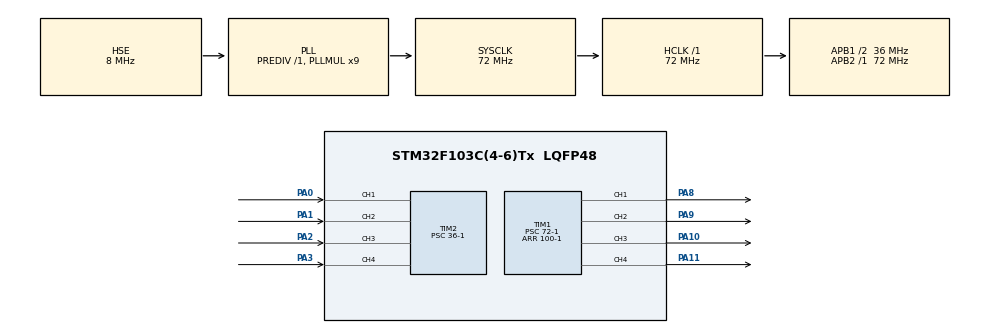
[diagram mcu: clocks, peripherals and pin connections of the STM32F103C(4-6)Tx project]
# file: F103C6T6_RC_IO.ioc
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Mcu.Family=STM32F1
Mcu.Name=STM32F103C(4-6)Tx
Mcu.Package=LQFP48
NVIC.PriorityGroup=NVIC_PRIORITYGROUP_4
NVIC.TIM2_IRQn=true\:0\:0\:false\:false\:true\:true\:true\:true
PA0-WKUP.Signal=S_TIM2_CH1_ETR
PA1.Signal=S_TIM2_CH2
PA10.Signal=S_TIM1_CH3
PA11.Signal=S_TIM1_CH4
PA13.Mode=Serial_Wire
PA13.Signal=SYS_JTMS-SWDIO
PA14.Mode=Serial_Wire
PA14.Signal=SYS_JTCK-SWCLK
PA2.Signal=S_TIM2_CH3
PA3.Signal=S_TIM2_CH4
PA8.Signal=S_TIM1_CH1
PA9.Signal=S_TIM1_CH2
PD0-OSC_IN.Mode=HSE-External-Oscillator
PD0-OSC_IN.Signal=RCC_OSC_IN
PD1-OSC_OUT.Mode=HSE-External-Oscillator
PD1-OSC_OUT.Signal=RCC_OSC_OUT
ProjectManager.HeapSize=0x200
ProjectManager.StackSize=0x400
ProjectManager.TargetToolchain=STM32CubeIDE
RCC.AHBFreq_Value=72000000
RCC.APB1CLKDivider=RCC_HCLK_DIV2
RCC.APB1Freq_Value=36000000
RCC.APB1TimFreq_Value=72000000
RCC.APB2Freq_Value=72000000
RCC.APB2TimFreq_Value=72000000
RCC.HCLKFreq_Value=72000000
RCC.PLLMUL=RCC_PLL_MUL9
RCC.PLLSourceVirtual=RCC_PLLSOURCE_HSE
RCC.SYSCLKFreq_VALUE=72000000
RCC.SYSCLKSource=RCC_SYSCLKSOURCE_PLLCLK
RCC.USBFreq_Value=72000000
SH.S_TIM1_CH1.0=TIM1_CH1,PWM Generation1 CH1
SH.S_TIM1_CH2.0=TIM1_CH2,PWM Generation2 CH2
SH.S_TIM1_CH3.0=TIM1_CH3,PWM Generation3 CH3
SH.S_TIM1_CH4.0=TIM1_CH4,PWM Generation4 CH4
SH.S_TIM2_CH1_ETR.0=TIM2_CH1,Input_Capture1_from_TI1
SH.S_TIM2_CH2.0=TIM2_CH2,Input_Capture2_from_TI2
SH.S_TIM2_CH3.0=TIM2_CH3,Input_Capture3_from_TI3
SH.S_TIM2_CH4.0=TIM2_CH4,Input_Capture4_from_TI4
TIM1.Channel-PWM\ Generation1\ CH1=TIM_CHANNEL_1
TIM1.Channel-PWM\ Generation2\ CH2=TIM_CHANNEL_2
TIM1.Channel-PWM\ Generation3\ CH3=TIM_CHANNEL_3
TIM1.Channel-PWM\ Generation4\ CH4=TIM_CHANNEL_4
TIM1.Period=100-1
TIM1.Prescaler=72-1
TIM2.Channel-Input_Capture1_from_TI1=TIM_CHANNEL_1
TIM2.Channel-Input_Capture2_from_TI2=TIM_CHANNEL_2
TIM2.Channel-Input_Capture3_from_TI3=TIM_CHANNEL_3
TIM2.Channel-Input_Capture4_from_TI4=TIM_CHANNEL_4
TIM2.Prescaler=36-1
VP_TIM1_VS_ClockSourceINT.Mode=Internal
VP_TIM2_VS_ClockSourceINT.Mode=Internal
board=custom

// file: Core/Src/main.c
/* USER CODE BEGIN Header */
/**
  ******************************************************************************
  * @file           : main.c
  * @brief          : Main program body
  ******************************************************************************
  * @attention
  *
  * Copyright (c) 2023 STMicroelectronics.
  * All rights reserved.
  *
  * This software is licensed under terms that can be found in the LICENSE file
  * in the root directory of this software component.
  * If no LICENSE file comes with this software, it is provided AS-IS.
  *
  ******************************************************************************
  */
/* USER CODE END Header */
#include "main.h"

TIM_HandleTypeDef htim1;
TIM_HandleTypeDef htim2;

void SystemClock_Config(void);
static void MX_GPIO_Init(void);
static void MX_TIM1_Init(void);
static void MX_TIM2_Init(void);

/* USER CODE BEGIN 0 */

// Reference code from https://controllerstech.com/input-capture-in-stm32/
//
// We have to make some modifications for the STM32F1 which is NOT capable of "Both Edges" input capture
// used in the article. So after capturing the RISING edge, we have to switch polarity to capture the
// FALLING edge; and once it is done, we switch back to RISING.

// According to the datasheet, Timer 2 is connected to ABP1. Its clock speed can be checked in the
// "Clock Configuration" tab.
#define TIMCLOCK   72000000    // Frequency of Timer 2 (timer performing the measurement)
#define PRESCALAR  36          // Prescalar of Timer 2

// Struct to store information about a pulse width measurement channel
struct ChannelInfo {
	uint32_t IC_Val1;
	uint32_t IC_Val2;          // Note that IC_Val2 and Difference can be made into local variables in the ISR
	uint32_t Difference;       // but they are kept here for the purpose of debugging in Live Expression.
	int Is_First_Captured;

	/* Measure Width */
	uint32_t usWidth;
};

const float refClock = TIMCLOCK/(PRESCALAR);
const float mFactor = 1000000/refClock;      // Factor to convert from timer count into microseconds

// Measurement channels
struct ChannelInfo channels[4];

// Timer 2 ISR
void HAL_TIM_IC_CaptureCallback(TIM_HandleTypeDef *htim)
{
	int channelIndex = -1;
	uint32_t channel = 0;

	switch(htim->Channel) {
	case HAL_TIM_ACTIVE_CHANNEL_1:
		channelIndex = 0;
		channel = TIM_CHANNEL_1;
		break;

	case HAL_TIM_ACTIVE_CHANNEL_2:
		channelIndex = 1;
		channel = TIM_CHANNEL_2;
		break;

	case HAL_TIM_ACTIVE_CHANNEL_3:
		channelIndex = 2;
		channel = TIM_CHANNEL_3;
		break;

	case HAL_TIM_ACTIVE_CHANNEL_4:
		channelIndex = 3;
		channel = TIM_CHANNEL_4;
		break;

	default:
		return; // Exit for invalid channel
	}

	if (channels[channelIndex].Is_First_Captured == 0) // if the first value is not captured
	{
		channels[channelIndex].IC_Val1 = HAL_TIM_ReadCapturedValue(htim, channel); // read the first value
		channels[channelIndex].Is_First_Captured = 1;  // set the first captured as true

		// SPECIAL CODE FOR STM32F1: Switch polarity to FALLING!
		__HAL_TIM_SET_CAPTUREPOLARITY(htim, channel, TIM_INPUTCHANNELPOLARITY_FALLING);
	}
	else // if the first is already captured
	{
		channels[channelIndex].IC_Val2 = HAL_TIM_ReadCapturedValue(htim, channel);  // read second value

		if (channels[channelIndex].IC_Val2 > channels[channelIndex].IC_Val1)
		{
			channels[channelIndex].Difference = channels[channelIndex].IC_Val2 - channels[channelIndex].IC_Val1;
		}
		else if (channels[channelIndex].IC_Val1 > channels[channelIndex].IC_Val2)
		{
			// It should be 0xffff (our ARR value) here instead of 0xffffffff.
			channels[channelIndex].Difference = (0xffff - channels[channelIndex].IC_Val1) + channels[channelIndex].IC_Val2;
		}

		channels[channelIndex].usWidth = channels[channelIndex].Difference * mFactor;

		// Do NOT reset the timer counter here because it could be in used by the other channels!
		// Think about situation where channel 1 gets HIGH, then channel 2 goes HIGH then LOW before channel 1 gets LOW.
		// If we reset at the time channel 2 goes LOW then captured value when channel 1 goes LOW is incorrect.
		// Just let the timer reset normally. Unfortunately, for long signals, we cannot make sure the measurement is
		// correct.
		/* __HAL_TIM_SET_COUNTER(htim, 0);  // reset the counter */
		channels[channelIndex].Is_First_Captured = 0; // set it back to false

		// SPECIAL CODE FOR STM32F1: Switch the polarity back to RISING edge, for the next pulse.
		__HAL_TIM_SET_CAPTUREPOLARITY(htim, channel, TIM_INPUTCHANNELPOLARITY_RISING);
	}
}
/* USER CODE END 0 */

int main(void)
{

  /* MCU Configuration--------------------------------------------------------*/

  /* Reset of all peripherals, Initializes the Flash interface and the Systick. */
  HAL_Init();

  /* Configure the system clock */
  SystemClock_Config();

  /* Initialize all configured peripherals */
  MX_GPIO_Init();
  MX_TIM1_Init();
  MX_TIM2_Init();
  /* USER CODE BEGIN 2 */

  // Start generating a PWM signal on channel 1-4 of timer 1 (pin PA8, PA9, PA10, PA11)
  // In our setup, the clock frequency of timer 1 is 72 MHz, the prescalar is 72 and ARR is 100
  // so the signal is essentially 72,000,000 / (72 x 100) = 10 kHz. This gives the period of
  // 100 us so the pulse width should be the same as the duty cycle.
  TIM1->CCR1 = 25; // 25% Duty Cycle for Channel 1
  TIM1->CCR2 = 50; // 50% Duty Cycle for Channel 2
  TIM1->CCR3 = 75; // 75% Duty Cycle for Channel 3
  TIM1->CCR4 = 90; // 90% Duty Cycle for Channel 4
  HAL_TIM_PWM_Start(&htim1, TIM_CHANNEL_1);
  HAL_TIM_PWM_Start(&htim1, TIM_CHANNEL_2);
  HAL_TIM_PWM_Start(&htim1, TIM_CHANNEL_3);
  HAL_TIM_PWM_Start(&htim1, TIM_CHANNEL_4);

  // Start measuring the pulse width using channel 1-4 of timer 2 (pin PA0, PA1, PA2, PA3)
  HAL_TIM_IC_Start_IT(&htim2, TIM_CHANNEL_1);
  HAL_TIM_IC_Start_IT(&htim2, TIM_CHANNEL_2);
  HAL_TIM_IC_Start_IT(&htim2, TIM_CHANNEL_3);
  HAL_TIM_IC_Start_IT(&htim2, TIM_CHANNEL_4);

  /* USER CODE END 2 */

  /* Infinite loop */
  while (1)
  {

    /* USER CODE BEGIN 3 */
	  HAL_Delay(1000);
  }
  /* USER CODE END 3 */
}

void SystemClock_Config(void)
{
  RCC_OscInitTypeDef RCC_OscInitStruct = {0};
  RCC_ClkInitTypeDef RCC_ClkInitStruct = {0};

  /** Initializes the RCC Oscillators according to the specified parameters
  * in the RCC_OscInitTypeDef structure.
  */
  RCC_OscInitStruct.OscillatorType = RCC_OSCILLATORTYPE_HSE;
  RCC_OscInitStruct.HSEState = RCC_HSE_ON;
  RCC_OscInitStruct.HSEPredivValue = RCC_HSE_PREDIV_DIV1;
  RCC_OscInitStruct.HSIState = RCC_HSI_ON;
  RCC_OscInitStruct.PLL.PLLState = RCC_PLL_ON;
  RCC_OscInitStruct.PLL.PLLSource = RCC_PLLSOURCE_HSE;
  RCC_OscInitStruct.PLL.PLLMUL = RCC_PLL_MUL9;
  if (HAL_RCC_OscConfig(&RCC_OscInitStruct) != HAL_OK)
  {
    Error_Handler();
  }

  /** Initializes the CPU, AHB and APB buses clocks
  */
  RCC_ClkInitStruct.ClockType = RCC_CLOCKTYPE_HCLK|RCC_CLOCKTYPE_SYSCLK
                              |RCC_CLOCKTYPE_PCLK1|RCC_CLOCKTYPE_PCLK2;
  RCC_ClkInitStruct.SYSCLKSource = RCC_SYSCLKSOURCE_PLLCLK;
  RCC_ClkInitStruct.AHBCLKDivider = RCC_SYSCLK_DIV1;
  RCC_ClkInitStruct.APB1CLKDivider = RCC_HCLK_DIV2;
  RCC_ClkInitStruct.APB2CLKDivider = RCC_HCLK_DIV1;

  if (HAL_RCC_ClockConfig(&RCC_ClkInitStruct, FLASH_LATENCY_2) != HAL_OK)
  {
    Error_Handler();
  }
}

static void MX_TIM1_Init(void)
{

  TIM_ClockConfigTypeDef sClockSourceConfig = {0};
  TIM_MasterConfigTypeDef sMasterConfig = {0};
  TIM_OC_InitTypeDef sConfigOC = {0};
  TIM_BreakDeadTimeConfigTypeDef sBreakDeadTimeConfig = {0};

  htim1.Instance = TIM1;
  htim1.Init.Prescaler = 72-1;
  htim1.Init.CounterMode = TIM_COUNTERMODE_UP;
  htim1.Init.Period = 100-1;
  htim1.Init.ClockDivision = TIM_CLOCKDIVISION_DIV1;
  htim1.Init.RepetitionCounter = 0;
  htim1.Init.AutoReloadPreload = TIM_AUTORELOAD_PRELOAD_DISABLE;
  if (HAL_TIM_Base_Init(&htim1) != HAL_OK)
  {
    Error_Handler();
  }
  sClockSourceConfig.ClockSource = TIM_CLOCKSOURCE_INTERNAL;
  if (HAL_TIM_ConfigClockSource(&htim1, &sClockSourceConfig) != HAL_OK)
  {
    Error_Handler();
  }
  if (HAL_TIM_PWM_Init(&htim1) != HAL_OK)
  {
    Error_Handler();
  }
  sMasterConfig.MasterOutputTrigger = TIM_TRGO_RESET;
  sMasterConfig.MasterSlaveMode = TIM_MASTERSLAVEMODE_DISABLE;
  if (HAL_TIMEx_MasterConfigSynchronization(&htim1, &sMasterConfig) != HAL_OK)
  {
    Error_Handler();
  }
  sConfigOC.OCMode = TIM_OCMODE_PWM1;
  sConfigOC.Pulse = 0;
  sConfigOC.OCPolarity = TIM_OCPOLARITY_HIGH;
  sConfigOC.OCNPolarity = TIM_OCNPOLARITY_HIGH;
  sConfigOC.OCFastMode = TIM_OCFAST_DISABLE;
  sConfigOC.OCIdleState = TIM_OCIDLESTATE_RESET;
  sConfigOC.OCNIdleState = TIM_OCNIDLESTATE_RESET;
  if (HAL_TIM_PWM_ConfigChannel(&htim1, &sConfigOC, TIM_CHANNEL_1) != HAL_OK)
  {
    Error_Handler();
  }
  if (HAL_TIM_PWM_ConfigChannel(&htim1, &sConfigOC, TIM_CHANNEL_2) != HAL_OK)
  {
    Error_Handler();
  }
  if (HAL_TIM_PWM_ConfigChannel(&htim1, &sConfigOC, TIM_CHANNEL_3) != HAL_OK)
  {
    Error_Handler();
  }
  if (HAL_TIM_PWM_ConfigChannel(&htim1, &sConfigOC, TIM_CHANNEL_4) != HAL_OK)
  {
    Error_Handler();
  }
  sBreakDeadTimeConfig.OffStateRunMode = TIM_OSSR_DISABLE;
  sBreakDeadTimeConfig.OffStateIDLEMode = TIM_OSSI_DISABLE;
  sBreakDeadTimeConfig.LockLevel = TIM_LOCKLEVEL_OFF;
  sBreakDeadTimeConfig.DeadTime = 0;
  sBreakDeadTimeConfig.BreakState = TIM_BREAK_DISABLE;
  sBreakDeadTimeConfig.BreakPolarity = TIM_BREAKPOLARITY_HIGH;
  sBreakDeadTimeConfig.AutomaticOutput = TIM_AUTOMATICOUTPUT_DISABLE;
  if (HAL_TIMEx_ConfigBreakDeadTime(&htim1, &sBreakDeadTimeConfig) != HAL_OK)
  {
    Error_Handler();
  }
  HAL_TIM_MspPostInit(&htim1);

}

static void MX_TIM2_Init(void)
{

  TIM_ClockConfigTypeDef sClockSourceConfig = {0};
  TIM_MasterConfigTypeDef sMasterConfig = {0};
  TIM_IC_InitTypeDef sConfigIC = {0};

  htim2.Instance = TIM2;
  htim2.Init.Prescaler = 36-1;
  htim2.Init.CounterMode = TIM_COUNTERMODE_UP;
  htim2.Init.Period = 65535;
  htim2.Init.ClockDivision = TIM_CLOCKDIVISION_DIV1;
  htim2.Init.AutoReloadPreload = TIM_AUTORELOAD_PRELOAD_DISABLE;
  if (HAL_TIM_Base_Init(&htim2) != HAL_OK)
  {
    Error_Handler();
  }
  sClockSourceConfig.ClockSource = TIM_CLOCKSOURCE_INTERNAL;
  if (HAL_TIM_ConfigClockSource(&htim2, &sClockSourceConfig) != HAL_OK)
  {
    Error_Handler();
  }
  if (HAL_TIM_IC_Init(&htim2) != HAL_OK)
  {
    Error_Handler();
  }
  sMasterConfig.MasterOutputTrigger = TIM_TRGO_RESET;
  sMasterConfig.MasterSlaveMode = TIM_MASTERSLAVEMODE_DISABLE;
  if (HAL_TIMEx_MasterConfigSynchronization(&htim2, &sMasterConfig) != HAL_OK)
  {
    Error_Handler();
  }
  sConfigIC.ICPolarity = TIM_INPUTCHANNELPOLARITY_RISING;
  sConfigIC.ICSelection = TIM_ICSELECTION_DIRECTTI;
  sConfigIC.ICPrescaler = TIM_ICPSC_DIV1;
  sConfigIC.ICFilter = 0;
  if (HAL_TIM_IC_ConfigChannel(&htim2, &sConfigIC, TIM_CHANNEL_1) != HAL_OK)
  {
    Error_Handler();
  }
  if (HAL_TIM_IC_ConfigChannel(&htim2, &sConfigIC, TIM_CHANNEL_2) != HAL_OK)
  {
    Error_Handler();
  }
  if (HAL_TIM_IC_ConfigChannel(&htim2, &sConfigIC, TIM_CHANNEL_3) != HAL_OK)
  {
    Error_Handler();
  }
  if (HAL_TIM_IC_ConfigChannel(&htim2, &sConfigIC, TIM_CHANNEL_4) != HAL_OK)
  {
    Error_Handler();
  }

}

static void MX_GPIO_Init(void)
{

  /* GPIO Ports Clock Enable */
  __HAL_RCC_GPIOD_CLK_ENABLE();
  __HAL_RCC_GPIOA_CLK_ENABLE();

}

void Error_Handler(void)
{
  __disable_irq();
  while (1)
  {
  }
}
